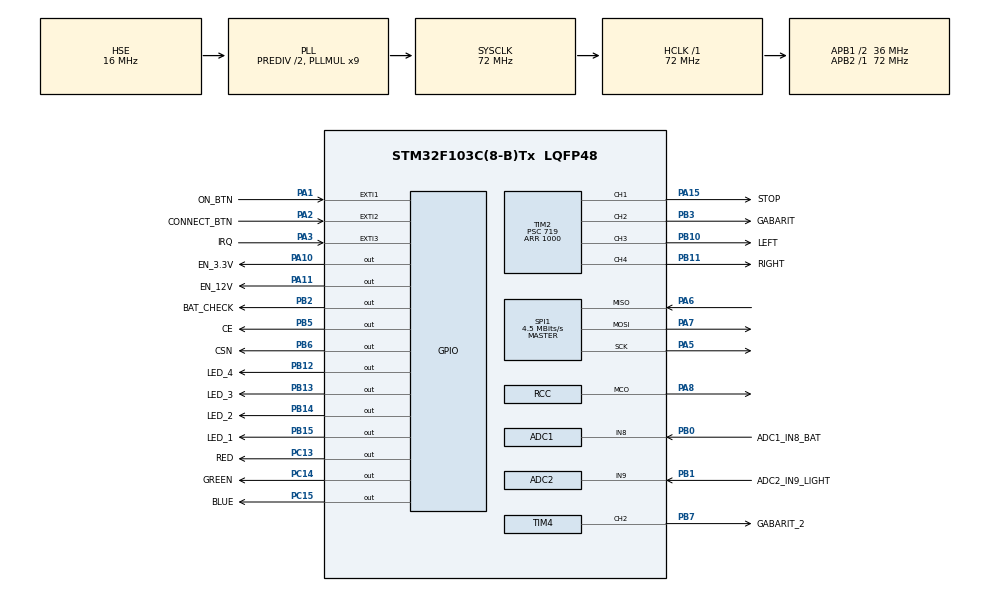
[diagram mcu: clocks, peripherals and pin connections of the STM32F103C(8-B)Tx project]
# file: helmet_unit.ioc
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ADC1.Channel-0\#ChannelRegularConversion=ADC_CHANNEL_8
ADC1.NbrOfConversionFlag=1
ADC1.Rank-0\#ChannelRegularConversion=1
ADC1.SamplingTime-0\#ChannelRegularConversion=ADC_SAMPLETIME_1CYCLE_5
ADC1.master=1
ADC2.Channel-11\#ChannelRegularConversion=ADC_CHANNEL_9
ADC2.EnableRegularConversion=ENABLE
ADC2.InjNumberOfConversion=0
ADC2.NbrOfConversionFlag=1
ADC2.Rank-11\#ChannelRegularConversion=1
ADC2.SamplingTime-11\#ChannelRegularConversion=ADC_SAMPLETIME_1CYCLE_5
Mcu.Family=STM32F1
Mcu.Name=STM32F103C(8-B)Tx
Mcu.Package=LQFP48
NVIC.EXTI1_IRQn=true\:1\:0\:true\:false\:true\:true\:true
NVIC.EXTI2_IRQn=true\:1\:0\:true\:false\:true\:true\:true
NVIC.PriorityGroup=NVIC_PRIORITYGROUP_4
NVIC.TIM1_CC_IRQn=true\:2\:0\:true\:false\:true\:true\:true
NVIC.TIM2_IRQn=true\:1\:0\:true\:false\:true\:true\:true
NVIC.TIM3_IRQn=true\:1\:0\:true\:false\:true\:true\:true
PA1.GPIO_Label=ON_BTN
PA1.GPIO_PuPd=GPIO_PULLDOWN
PA1.Signal=GPXTI1
PA10.GPIO_Label=EN_3.3V
PA10.Signal=GPIO_Output
PA11.GPIO_Label=EN_12V
PA11.Signal=GPIO_Output
PA13.Mode=Serial_Wire
PA13.Signal=SYS_JTMS-SWDIO
PA14.Mode=Serial_Wire
PA14.Signal=SYS_JTCK-SWCLK
PA15.GPIO_Label=STOP
PA15.Signal=S_TIM2_CH1_ETR
PA2.GPIO_Label=CONNECT_BTN
PA2.GPIO_ModeDefaultEXTI=GPIO_MODE_IT_FALLING
PA2.GPIO_PuPd=GPIO_PULLUP
PA2.Signal=GPXTI2
PA3.GPIO_Label=IRQ
PA3.Signal=GPXTI3
PA5.Mode=Full_Duplex_Master
PA5.Signal=SPI1_SCK
PA6.Mode=Full_Duplex_Master
PA6.Signal=SPI1_MISO
PA7.Mode=Full_Duplex_Master
PA7.Signal=SPI1_MOSI
PA8.Mode=Clock-out
PA8.Signal=RCC_MCO
PB0.GPIO_Label=ADC1_IN8_BAT
PB0.Signal=ADCx_IN8
PB1.GPIO_Label=ADC2_IN9_LIGHT
PB1.Signal=ADCx_IN9
PB10.GPIO_Label=LEFT
PB10.Signal=S_TIM2_CH3
PB11.GPIO_Label=RIGHT
PB11.Signal=S_TIM2_CH4
PB12.GPIO_Label=LED_4
PB12.GPIO_ModeDefaultOutputPP=GPIO_MODE_OUTPUT_OD
PB12.GPIO_PuPd=GPIO_PULLUP
PB12.Signal=GPIO_Output
PB13.GPIO_Label=LED_3
PB13.GPIO_ModeDefaultOutputPP=GPIO_MODE_OUTPUT_OD
PB13.GPIO_PuPd=GPIO_PULLUP
PB13.Signal=GPIO_Output
PB14.GPIO_Label=LED_2
PB14.GPIO_ModeDefaultOutputPP=GPIO_MODE_OUTPUT_OD
PB14.GPIO_PuPd=GPIO_PULLUP
PB14.Signal=GPIO_Output
PB15.GPIO_Label=LED_1
PB15.GPIO_ModeDefaultOutputPP=GPIO_MODE_OUTPUT_OD
PB15.GPIO_PuPd=GPIO_PULLUP
PB15.Signal=GPIO_Output
PB2.GPIO_Label=BAT_CHECK
PB2.Signal=GPIO_Output
PB3.GPIO_Label=GABARIT
PB3.Signal=S_TIM2_CH2
PB5.GPIO_Label=CE
PB5.Signal=GPIO_Output
PB6.GPIO_Label=CSN
PB6.Signal=GPIO_Output
PB7.GPIO_Label=GABARIT_2
PB7.Signal=S_TIM4_CH2
PC13-TAMPER-RTC.GPIO_Label=RED
PC13-TAMPER-RTC.Signal=GPIO_Output
PC14-OSC32_IN.GPIO_Label=GREEN
PC14-OSC32_IN.Signal=GPIO_Output
PC15-OSC32_OUT.GPIO_Label=BLUE
PC15-OSC32_OUT.Signal=GPIO_Output
PD0-OSC_IN.Mode=HSE-External-Oscillator
PD0-OSC_IN.Signal=RCC_OSC_IN
PD1-OSC_OUT.Mode=HSE-External-Oscillator
PD1-OSC_OUT.Signal=RCC_OSC_OUT
ProjectManager.HeapSize=0x200
ProjectManager.StackSize=0x400
ProjectManager.TargetToolchain=TrueSTUDIO
RCC.ADCPresc=RCC_ADCPCLK2_DIV6
RCC.AHBFreq_Value=72000000
RCC.APB1CLKDivider=RCC_HCLK_DIV2
RCC.APB1Freq_Value=36000000
RCC.APB1TimFreq_Value=72000000
RCC.APB2Freq_Value=72000000
RCC.APB2TimFreq_Value=72000000
RCC.HCLKFreq_Value=72000000
RCC.HSEDivPLL=RCC_HSE_PREDIV_DIV2
RCC.HSE_VALUE=16000000
RCC.PLLMUL=RCC_PLL_MUL9
RCC.PLLSourceVirtual=RCC_PLLSOURCE_HSE
RCC.RCC_MCOSource=RCC_MCO1SOURCE_HSE
RCC.SYSCLKFreq_VALUE=72000000
RCC.SYSCLKSource=RCC_SYSCLKSOURCE_PLLCLK
RCC.USBFreq_Value=72000000
SH.ADCx_IN8.0=ADC1_IN8,IN8
SH.ADCx_IN9.0=ADC2_IN9,IN9
SH.S_TIM2_CH1_ETR.0=TIM2_CH1,PWM Generation1 CH1
SH.S_TIM2_CH2.0=TIM2_CH2,PWM Generation2 CH2
SH.S_TIM2_CH3.0=TIM2_CH3,PWM Generation3 CH3
SH.S_TIM2_CH4.0=TIM2_CH4,PWM Generation4 CH4
SH.S_TIM4_CH2.0=TIM4_CH2,PWM Generation2 CH2
SPI1.BaudRatePrescaler=SPI_BAUDRATEPRESCALER_16
SPI1.CalculateBaudRate=4.5 MBits/s
SPI1.Direction=SPI_DIRECTION_2LINES
SPI1.Mode=SPI_MODE_MASTER
SPI1.VirtualType=VM_MASTER
TIM1.Channel-Output\ Compare1\ No\ Output=TIM_CHANNEL_1
TIM1.Channel-Output\ Compare2\ No\ Output=TIM_CHANNEL_2
TIM1.ClockDivision=TIM_CLOCKDIVISION_DIV2
TIM1.Period=9999
TIM1.Prescaler=7199
TIM2.Channel-PWM\ Generation1\ CH1=TIM_CHANNEL_1
TIM2.Channel-PWM\ Generation2\ CH2=TIM_CHANNEL_2
TIM2.Channel-PWM\ Generation3\ CH3=TIM_CHANNEL_3
TIM2.Channel-PWM\ Generation4\ CH4=TIM_CHANNEL_4
TIM2.Period=1000
TIM2.Prescaler=719
TIM2.Pulse-PWM\ Generation1\ CH1=0
TIM2.Pulse-PWM\ Generation2\ CH2=0
TIM2.Pulse-PWM\ Generation4\ CH4=0
TIM3.Channel-Output\ Compare4\ No\ Output=TIM_CHANNEL_4
TIM3.Period=9999
TIM3.Prescaler=7199
TIM3.Pulse-Output\ Compare4\ No\ Output=10000
TIM4.Channel-PWM\ Generation2\ CH2=TIM_CHANNEL_2
TIM4.Period=1000
TIM4.Prescaler=719
VP_TIM1_VS_no_output1.Mode=Output Compare1 No Output
VP_TIM1_VS_no_output2.Mode=Output Compare2 No Output
VP_TIM3_VS_no_output4.Mode=Output Compare4 No Output
board=custom

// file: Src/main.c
/* USER CODE BEGIN Header */
/**
  ******************************************************************************
  * @file           : main.c
  * @brief          : Main program body
  ******************************************************************************
  ** This notice applies to any and all portions of this file
  * that are not between comment pairs USER CODE BEGIN and
  * USER CODE END. Other portions of this file, whether
  * inserted by the user or by software development tools
  * are owned by their respective copyright owners.
  *
  * COPYRIGHT(c) 2019 STMicroelectronics
  *
  * Redistribution and use in source and binary forms, with or without modification,
  * are permitted provided that the following conditions are met:
  *   1. Redistributions of source code must retain the above copyright notice,
  *      this list of conditions and the following disclaimer.
  *   2. Redistributions in binary form must reproduce the above copyright notice,
  *      this list of conditions and the following disclaimer in the documentation
  *      and/or other materials provided with the distribution.
  *   3. Neither the name of STMicroelectronics nor the names of its contributors
  *      may be used to endorse or promote products derived from this software
  *      without specific prior written permission.
  *
  * THIS SOFTWARE IS PROVIDED BY THE COPYRIGHT HOLDERS AND CONTRIBUTORS "AS IS"
  * AND ANY EXPRESS OR IMPLIED WARRANTIES, INCLUDING, BUT NOT LIMITED TO, THE
  * IMPLIED WARRANTIES OF MERCHANTABILITY AND FITNESS FOR A PARTICULAR PURPOSE ARE
  * DISCLAIMED. IN NO EVENT SHALL THE COPYRIGHT HOLDER OR CONTRIBUTORS BE LIABLE
  * FOR ANY DIRECT, INDIRECT, INCIDENTAL, SPECIAL, EXEMPLARY, OR CONSEQUENTIAL
  * DAMAGES (INCLUDING, BUT NOT LIMITED TO, PROCUREMENT OF SUBSTITUTE GOODS OR
  * SERVICES; LOSS OF USE, DATA, OR PROFITS; OR BUSINESS INTERRUPTION) HOWEVER
  * CAUSED AND ON ANY THEORY OF LIABILITY, WHETHER IN CONTRACT, STRICT LIABILITY,
  * OR TORT (INCLUDING NEGLIGENCE OR OTHERWISE) ARISING IN ANY WAY OUT OF THE USE
  * OF THIS SOFTWARE, EVEN IF ADVISED OF THE POSSIBILITY OF SUCH DAMAGE.
  *
  ******************************************************************************
  */
/* USER CODE END Header */

#include "main.h"

/* USER CODE BEGIN Includes */
#include "RF24.h"
#include "helmet.h"
/* USER CODE END Includes */

ADC_HandleTypeDef hadc1;
ADC_HandleTypeDef hadc2;

SPI_HandleTypeDef hspi1;

TIM_HandleTypeDef htim1;
TIM_HandleTypeDef htim2;
TIM_HandleTypeDef htim3;
TIM_HandleTypeDef htim4;

/* USER CODE BEGIN PV */
uint8_t nrf_data[32] = {0,}; // буфер указываем максимального размера
static uint8_t remsg = 0;
uint8_t pipe_num = 0;

int connect_flag = 0;

extern uint32_t address_0;
extern uint32_t address_1;
extern uint32_t address_2;
extern int sek;
extern int sek2;
extern search_flag;
uint32_t my_addres = 0;

extern bat_adc;

int bat_led_time = 0;
/* USER CODE END PV */

void SystemClock_Config(void);
static void MX_GPIO_Init(void);
static void MX_SPI1_Init(void);
static void MX_ADC2_Init(void);
static void MX_TIM2_Init(void);
static void MX_ADC1_Init(void);
static void MX_TIM4_Init(void);
static void MX_TIM3_Init(void);
static void MX_TIM1_Init(void);

/* USER CODE BEGIN 0 */
extern int light_check_flag;
/* USER CODE END 0 */

int main(void)
{

  /* MCU Configuration--------------------------------------------------------*/

  /* Reset of all peripherals, Initializes the Flash interface and the Systick. */
  HAL_Init();

  /* Configure the system clock */
  SystemClock_Config();

  /* Initialize all configured peripherals */
  MX_GPIO_Init();
  MX_SPI1_Init();
  MX_ADC2_Init();
  MX_TIM2_Init();
  MX_ADC1_Init();
  MX_TIM4_Init();
  MX_TIM3_Init();
  MX_TIM1_Init();
  /* USER CODE BEGIN 2 */

  /*старт микроконтроллера и перифирии*/
  led1_4_off;

  led1_on;
  HAL_Delay(600);
  led2_on;
  HAL_Delay(600);
  led3_on;
  HAL_Delay(600);
  led4_on;

  if((HAL_GPIO_ReadPin(GPIOA,ON_BTN_Pin))== 1)
  {
	  while((HAL_GPIO_ReadPin(GPIOA,ON_BTN_Pin))== 1)
	  {
		  HAL_Delay(100);
		  Power_3_3_Volt_on;
		  HAL_Delay(100);
	  }
  }
  led1_4_off;

  led1_4_on;
  HAL_Delay(300);
  led1_4_off;
  HAL_Delay(300);

  battery_check(1);

  HAL_Delay(3000);
  led1_4_off;

  unique_id();

  /*старт модуля NRF24*/

  DWT_Init();//счетчик для микросекундных пауз

  const uint64_t pipe1 = 0xE8E8F0F0E2LL; // адрес первой трубы
  const uint64_t pipe2 = 0xE8E8F0F0A2LL;

  uint8_t res = isChipConnected(); // проверяем подключение по SPI
  char str[64] = {0,};
  res = NRF_Init(); // инициализация

  ////////////// SET ////////////////
  setAutoAck(true);
  enableAckPayload();
  enableDynamicPayloads();
 // setPayloadSize(6);
  setChannel(19);
  openReadingPipe(1, pipe1);
  startListening();
   ///////////////////////////////////
  uint8_t status = get_status();
  status = getPALevel();
  status = getChannel();
  status = getDataRate();

  /********************/

  Power_12_Volt_on;

  HAL_TIM_PWM_Start(&htim2, TIM_CHANNEL_1);
  HAL_TIM_PWM_Start(&htim2, TIM_CHANNEL_2);
  HAL_TIM_PWM_Start(&htim2, TIM_CHANNEL_3);
  HAL_TIM_PWM_Start(&htim2, TIM_CHANNEL_4);

  HAL_ADCEx_Calibration_Start(&hadc2);
  HAL_TIM_OC_Start_IT(&htim3,TIM_CHANNEL_4);	//таймер по проверке уровня света и уровня батареи
  HAL_TIM_Base_Start(&htim1); 					//таймер запускающий функцию search

  address_0 = (*(__IO uint32_t*) 0x08004000); 	//вытаскиваем id мотоцикла сохраненного по адресу.
  address_1 = (*(__IO uint32_t*) 0x08004004); 	//вытаскиваем id мотоцикла сохраненного по адресу.
  address_2 = (*(__IO uint32_t*) 0x08004008); 	//вытаскиваем id мотоцикла сохраненного по адресу.

 /********************/
  light_check();

  /* USER CODE END 2 */

  /* Infinite loop */
  while (1)
  {

    /* USER CODE BEGIN 3 */
	  ///////////////////////////////////// ПРИЁМ /////////////////////////////////////////////
	 	if(available(&pipe_num)) // проверяем пришло ли что-то
	  	{
	  		TEST(pipe_num);
	  	}
  }

  /* USER CODE END 3 */
}

void SystemClock_Config(void)
{
  RCC_OscInitTypeDef RCC_OscInitStruct = {0};
  RCC_ClkInitTypeDef RCC_ClkInitStruct = {0};
  RCC_PeriphCLKInitTypeDef PeriphClkInit = {0};

  /** Initializes the CPU, AHB and APB busses clocks
  */
  RCC_OscInitStruct.OscillatorType = RCC_OSCILLATORTYPE_HSE;
  RCC_OscInitStruct.HSEState = RCC_HSE_ON;
  RCC_OscInitStruct.HSEPredivValue = RCC_HSE_PREDIV_DIV2;
  RCC_OscInitStruct.HSIState = RCC_HSI_ON;
  RCC_OscInitStruct.PLL.PLLState = RCC_PLL_ON;
  RCC_OscInitStruct.PLL.PLLSource = RCC_PLLSOURCE_HSE;
  RCC_OscInitStruct.PLL.PLLMUL = RCC_PLL_MUL9;
  if (HAL_RCC_OscConfig(&RCC_OscInitStruct) != HAL_OK)
  {
    Error_Handler();
  }
  /** Initializes the CPU, AHB and APB busses clocks
  */
  RCC_ClkInitStruct.ClockType = RCC_CLOCKTYPE_HCLK|RCC_CLOCKTYPE_SYSCLK
                              |RCC_CLOCKTYPE_PCLK1|RCC_CLOCKTYPE_PCLK2;
  RCC_ClkInitStruct.SYSCLKSource = RCC_SYSCLKSOURCE_PLLCLK;
  RCC_ClkInitStruct.AHBCLKDivider = RCC_SYSCLK_DIV1;
  RCC_ClkInitStruct.APB1CLKDivider = RCC_HCLK_DIV2;
  RCC_ClkInitStruct.APB2CLKDivider = RCC_HCLK_DIV1;

  if (HAL_RCC_ClockConfig(&RCC_ClkInitStruct, FLASH_LATENCY_2) != HAL_OK)
  {
    Error_Handler();
  }
  PeriphClkInit.PeriphClockSelection = RCC_PERIPHCLK_ADC;
  PeriphClkInit.AdcClockSelection = RCC_ADCPCLK2_DIV6;
  if (HAL_RCCEx_PeriphCLKConfig(&PeriphClkInit) != HAL_OK)
  {
    Error_Handler();
  }
  HAL_RCC_MCOConfig(RCC_MCO, RCC_MCO1SOURCE_HSE, RCC_MCODIV_1);
}

static void MX_ADC1_Init(void)
{

  ADC_ChannelConfTypeDef sConfig = {0};

  /** Common config
  */
  hadc1.Instance = ADC1;
  hadc1.Init.ScanConvMode = ADC_SCAN_DISABLE;
  hadc1.Init.ContinuousConvMode = DISABLE;
  hadc1.Init.DiscontinuousConvMode = DISABLE;
  hadc1.Init.ExternalTrigConv = ADC_SOFTWARE_START;
  hadc1.Init.DataAlign = ADC_DATAALIGN_RIGHT;
  hadc1.Init.NbrOfConversion = 1;
  if (HAL_ADC_Init(&hadc1) != HAL_OK)
  {
    Error_Handler();
  }
  /** Configure Regular Channel
  */
  sConfig.Channel = ADC_CHANNEL_8;
  sConfig.Rank = ADC_REGULAR_RANK_1;
  sConfig.SamplingTime = ADC_SAMPLETIME_1CYCLE_5;
  if (HAL_ADC_ConfigChannel(&hadc1, &sConfig) != HAL_OK)
  {
    Error_Handler();
  }

}

static void MX_ADC2_Init(void)
{

  ADC_ChannelConfTypeDef sConfig = {0};

  /** Common config
  */
  hadc2.Instance = ADC2;
  hadc2.Init.ScanConvMode = ADC_SCAN_DISABLE;
  hadc2.Init.ContinuousConvMode = DISABLE;
  hadc2.Init.DiscontinuousConvMode = DISABLE;
  hadc2.Init.ExternalTrigConv = ADC_SOFTWARE_START;
  hadc2.Init.DataAlign = ADC_DATAALIGN_RIGHT;
  hadc2.Init.NbrOfConversion = 1;
  if (HAL_ADC_Init(&hadc2) != HAL_OK)
  {
    Error_Handler();
  }
  /** Configure Regular Channel
  */
  sConfig.Channel = ADC_CHANNEL_9;
  sConfig.Rank = ADC_REGULAR_RANK_1;
  sConfig.SamplingTime = ADC_SAMPLETIME_1CYCLE_5;
  if (HAL_ADC_ConfigChannel(&hadc2, &sConfig) != HAL_OK)
  {
    Error_Handler();
  }

}

static void MX_SPI1_Init(void)
{

  /* SPI1 parameter configuration*/
  hspi1.Instance = SPI1;
  hspi1.Init.Mode = SPI_MODE_MASTER;
  hspi1.Init.Direction = SPI_DIRECTION_2LINES;
  hspi1.Init.DataSize = SPI_DATASIZE_8BIT;
  hspi1.Init.CLKPolarity = SPI_POLARITY_LOW;
  hspi1.Init.CLKPhase = SPI_PHASE_1EDGE;
  hspi1.Init.NSS = SPI_NSS_SOFT;
  hspi1.Init.BaudRatePrescaler = SPI_BAUDRATEPRESCALER_16;
  hspi1.Init.FirstBit = SPI_FIRSTBIT_MSB;
  hspi1.Init.TIMode = SPI_TIMODE_DISABLE;
  hspi1.Init.CRCCalculation = SPI_CRCCALCULATION_DISABLE;
  hspi1.Init.CRCPolynomial = 10;
  if (HAL_SPI_Init(&hspi1) != HAL_OK)
  {
    Error_Handler();
  }

}

static void MX_TIM1_Init(void)
{

  TIM_MasterConfigTypeDef sMasterConfig = {0};
  TIM_OC_InitTypeDef sConfigOC = {0};
  TIM_BreakDeadTimeConfigTypeDef sBreakDeadTimeConfig = {0};

  htim1.Instance = TIM1;
  htim1.Init.Prescaler = 7199;
  htim1.Init.CounterMode = TIM_COUNTERMODE_UP;
  htim1.Init.Period = 9999;
  htim1.Init.ClockDivision = TIM_CLOCKDIVISION_DIV2;
  htim1.Init.RepetitionCounter = 0;
  htim1.Init.AutoReloadPreload = TIM_AUTORELOAD_PRELOAD_DISABLE;
  if (HAL_TIM_OC_Init(&htim1) != HAL_OK)
  {
    Error_Handler();
  }
  sMasterConfig.MasterOutputTrigger = TIM_TRGO_RESET;
  sMasterConfig.MasterSlaveMode = TIM_MASTERSLAVEMODE_DISABLE;
  if (HAL_TIMEx_MasterConfigSynchronization(&htim1, &sMasterConfig) != HAL_OK)
  {
    Error_Handler();
  }
  sConfigOC.OCMode = TIM_OCMODE_TIMING;
  sConfigOC.Pulse = 0;
  sConfigOC.OCPolarity = TIM_OCPOLARITY_HIGH;
  sConfigOC.OCNPolarity = TIM_OCNPOLARITY_HIGH;
  sConfigOC.OCFastMode = TIM_OCFAST_DISABLE;
  sConfigOC.OCIdleState = TIM_OCIDLESTATE_RESET;
  sConfigOC.OCNIdleState = TIM_OCNIDLESTATE_RESET;
  if (HAL_TIM_OC_ConfigChannel(&htim1, &sConfigOC, TIM_CHANNEL_1) != HAL_OK)
  {
    Error_Handler();
  }
  if (HAL_TIM_OC_ConfigChannel(&htim1, &sConfigOC, TIM_CHANNEL_2) != HAL_OK)
  {
    Error_Handler();
  }
  sBreakDeadTimeConfig.OffStateRunMode = TIM_OSSR_DISABLE;
  sBreakDeadTimeConfig.OffStateIDLEMode = TIM_OSSI_DISABLE;
  sBreakDeadTimeConfig.LockLevel = TIM_LOCKLEVEL_OFF;
  sBreakDeadTimeConfig.DeadTime = 0;
  sBreakDeadTimeConfig.BreakState = TIM_BREAK_DISABLE;
  sBreakDeadTimeConfig.BreakPolarity = TIM_BREAKPOLARITY_HIGH;
  sBreakDeadTimeConfig.AutomaticOutput = TIM_AUTOMATICOUTPUT_DISABLE;
  if (HAL_TIMEx_ConfigBreakDeadTime(&htim1, &sBreakDeadTimeConfig) != HAL_OK)
  {
    Error_Handler();
  }

}

static void MX_TIM2_Init(void)
{

  TIM_MasterConfigTypeDef sMasterConfig = {0};
  TIM_OC_InitTypeDef sConfigOC = {0};

  htim2.Instance = TIM2;
  htim2.Init.Prescaler = 719;
  htim2.Init.CounterMode = TIM_COUNTERMODE_UP;
  htim2.Init.Period = 1000;
  htim2.Init.ClockDivision = TIM_CLOCKDIVISION_DIV1;
  htim2.Init.AutoReloadPreload = TIM_AUTORELOAD_PRELOAD_DISABLE;
  if (HAL_TIM_PWM_Init(&htim2) != HAL_OK)
  {
    Error_Handler();
  }
  sMasterConfig.MasterOutputTrigger = TIM_TRGO_RESET;
  sMasterConfig.MasterSlaveMode = TIM_MASTERSLAVEMODE_DISABLE;
  if (HAL_TIMEx_MasterConfigSynchronization(&htim2, &sMasterConfig) != HAL_OK)
  {
    Error_Handler();
  }
  sConfigOC.OCMode = TIM_OCMODE_PWM1;
  sConfigOC.Pulse = 0;
  sConfigOC.OCPolarity = TIM_OCPOLARITY_HIGH;
  sConfigOC.OCFastMode = TIM_OCFAST_DISABLE;
  if (HAL_TIM_PWM_ConfigChannel(&htim2, &sConfigOC, TIM_CHANNEL_1) != HAL_OK)
  {
    Error_Handler();
  }
  if (HAL_TIM_PWM_ConfigChannel(&htim2, &sConfigOC, TIM_CHANNEL_2) != HAL_OK)
  {
    Error_Handler();
  }
  if (HAL_TIM_PWM_ConfigChannel(&htim2, &sConfigOC, TIM_CHANNEL_3) != HAL_OK)
  {
    Error_Handler();
  }
  if (HAL_TIM_PWM_ConfigChannel(&htim2, &sConfigOC, TIM_CHANNEL_4) != HAL_OK)
  {
    Error_Handler();
  }
  HAL_TIM_MspPostInit(&htim2);

}

static void MX_TIM3_Init(void)
{

  TIM_MasterConfigTypeDef sMasterConfig = {0};
  TIM_OC_InitTypeDef sConfigOC = {0};

  htim3.Instance = TIM3;
  htim3.Init.Prescaler = 7199;
  htim3.Init.CounterMode = TIM_COUNTERMODE_UP;
  htim3.Init.Period = 9999;
  htim3.Init.ClockDivision = TIM_CLOCKDIVISION_DIV1;
  htim3.Init.AutoReloadPreload = TIM_AUTORELOAD_PRELOAD_DISABLE;
  if (HAL_TIM_OC_Init(&htim3) != HAL_OK)
  {
    Error_Handler();
  }
  sMasterConfig.MasterOutputTrigger = TIM_TRGO_RESET;
  sMasterConfig.MasterSlaveMode = TIM_MASTERSLAVEMODE_DISABLE;
  if (HAL_TIMEx_MasterConfigSynchronization(&htim3, &sMasterConfig) != HAL_OK)
  {
    Error_Handler();
  }
  sConfigOC.OCMode = TIM_OCMODE_TIMING;
  sConfigOC.Pulse = 10000;
  sConfigOC.OCPolarity = TIM_OCPOLARITY_HIGH;
  sConfigOC.OCFastMode = TIM_OCFAST_DISABLE;
  if (HAL_TIM_OC_ConfigChannel(&htim3, &sConfigOC, TIM_CHANNEL_4) != HAL_OK)
  {
    Error_Handler();
  }

}

static void MX_TIM4_Init(void)
{

  TIM_MasterConfigTypeDef sMasterConfig = {0};
  TIM_OC_InitTypeDef sConfigOC = {0};

  htim4.Instance = TIM4;
  htim4.Init.Prescaler = 719;
  htim4.Init.CounterMode = TIM_COUNTERMODE_UP;
  htim4.Init.Period = 1000;
  htim4.Init.ClockDivision = TIM_CLOCKDIVISION_DIV1;
  htim4.Init.AutoReloadPreload = TIM_AUTORELOAD_PRELOAD_DISABLE;
  if (HAL_TIM_PWM_Init(&htim4) != HAL_OK)
  {
    Error_Handler();
  }
  sMasterConfig.MasterOutputTrigger = TIM_TRGO_RESET;
  sMasterConfig.MasterSlaveMode = TIM_MASTERSLAVEMODE_DISABLE;
  if (HAL_TIMEx_MasterConfigSynchronization(&htim4, &sMasterConfig) != HAL_OK)
  {
    Error_Handler();
  }
  sConfigOC.OCMode = TIM_OCMODE_PWM1;
  sConfigOC.Pulse = 0;
  sConfigOC.OCPolarity = TIM_OCPOLARITY_HIGH;
  sConfigOC.OCFastMode = TIM_OCFAST_DISABLE;
  if (HAL_TIM_PWM_ConfigChannel(&htim4, &sConfigOC, TIM_CHANNEL_2) != HAL_OK)
  {
    Error_Handler();
  }
  HAL_TIM_MspPostInit(&htim4);

}

static void MX_GPIO_Init(void)
{
  GPIO_InitTypeDef GPIO_InitStruct = {0};

  /* GPIO Ports Clock Enable */
  __HAL_RCC_GPIOC_CLK_ENABLE();
  __HAL_RCC_GPIOD_CLK_ENABLE();
  __HAL_RCC_GPIOA_CLK_ENABLE();
  __HAL_RCC_GPIOB_CLK_ENABLE();

  /*Configure GPIO pin Output Level */
  HAL_GPIO_WritePin(GPIOC, RED_Pin|GREEN_Pin|BLUE_Pin, GPIO_PIN_RESET);

  /*Configure GPIO pin Output Level */
  HAL_GPIO_WritePin(GPIOB, BAT_CHECK_Pin|LED_4_Pin|LED_3_Pin|LED_2_Pin
                          |LED_1_Pin|CE_Pin|CSN_Pin, GPIO_PIN_RESET);

  /*Configure GPIO pin Output Level */
  HAL_GPIO_WritePin(GPIOA, EN_3_3V_Pin|EN_12V_Pin, GPIO_PIN_RESET);

  /*Configure GPIO pins : RED_Pin GREEN_Pin BLUE_Pin */
  GPIO_InitStruct.Pin = RED_Pin|GREEN_Pin|BLUE_Pin;
  GPIO_InitStruct.Mode = GPIO_MODE_OUTPUT_PP;
  GPIO_InitStruct.Pull = GPIO_NOPULL;
  GPIO_InitStruct.Speed = GPIO_SPEED_FREQ_LOW;
  HAL_GPIO_Init(GPIOC, &GPIO_InitStruct);

  /*Configure GPIO pin : ON_BTN_Pin */
  GPIO_InitStruct.Pin = ON_BTN_Pin;
  GPIO_InitStruct.Mode = GPIO_MODE_IT_RISING;
  GPIO_InitStruct.Pull = GPIO_PULLDOWN;
  HAL_GPIO_Init(ON_BTN_GPIO_Port, &GPIO_InitStruct);

  /*Configure GPIO pin : CONNECT_BTN_Pin */
  GPIO_InitStruct.Pin = CONNECT_BTN_Pin;
  GPIO_InitStruct.Mode = GPIO_MODE_IT_FALLING;
  GPIO_InitStruct.Pull = GPIO_PULLUP;
  HAL_GPIO_Init(CONNECT_BTN_GPIO_Port, &GPIO_InitStruct);

  /*Configure GPIO pin : IRQ_Pin */
  GPIO_InitStruct.Pin = IRQ_Pin;
  GPIO_InitStruct.Mode = GPIO_MODE_IT_RISING;
  GPIO_InitStruct.Pull = GPIO_NOPULL;
  HAL_GPIO_Init(IRQ_GPIO_Port, &GPIO_InitStruct);

  /*Configure GPIO pins : BAT_CHECK_Pin CE_Pin CSN_Pin */
  GPIO_InitStruct.Pin = BAT_CHECK_Pin|CE_Pin|CSN_Pin;
  GPIO_InitStruct.Mode = GPIO_MODE_OUTPUT_PP;
  GPIO_InitStruct.Pull = GPIO_NOPULL;
  GPIO_InitStruct.Speed = GPIO_SPEED_FREQ_LOW;
  HAL_GPIO_Init(GPIOB, &GPIO_InitStruct);

  /*Configure GPIO pins : LED_4_Pin LED_3_Pin LED_2_Pin LED_1_Pin */
  GPIO_InitStruct.Pin = LED_4_Pin|LED_3_Pin|LED_2_Pin|LED_1_Pin;
  GPIO_InitStruct.Mode = GPIO_MODE_OUTPUT_OD;
  GPIO_InitStruct.Pull = GPIO_PULLUP;
  GPIO_InitStruct.Speed = GPIO_SPEED_FREQ_LOW;
  HAL_GPIO_Init(GPIOB, &GPIO_InitStruct);

  /*Configure GPIO pin : PA8 */
  GPIO_InitStruct.Pin = GPIO_PIN_8;
  GPIO_InitStruct.Mode = GPIO_MODE_AF_PP;
  GPIO_InitStruct.Speed = GPIO_SPEED_FREQ_LOW;
  HAL_GPIO_Init(GPIOA, &GPIO_InitStruct);

  /*Configure GPIO pins : EN_3_3V_Pin EN_12V_Pin */
  GPIO_InitStruct.Pin = EN_3_3V_Pin|EN_12V_Pin;
  GPIO_InitStruct.Mode = GPIO_MODE_OUTPUT_PP;
  GPIO_InitStruct.Pull = GPIO_NOPULL;
  GPIO_InitStruct.Speed = GPIO_SPEED_FREQ_LOW;
  HAL_GPIO_Init(GPIOA, &GPIO_InitStruct);

  /* EXTI interrupt init*/
  HAL_NVIC_SetPriority(EXTI1_IRQn, 1, 0);
  HAL_NVIC_EnableIRQ(EXTI1_IRQn);

  HAL_NVIC_SetPriority(EXTI2_IRQn, 1, 0);
  HAL_NVIC_EnableIRQ(EXTI2_IRQn);

}

/* USER CODE BEGIN 4 */
//void TIM_1_Callback(TIM_HandleTypeDef *htim)
void HAL_TIM_OC_DelayElapsedCallback (TIM_HandleTypeDef *htim)
{
    if(htim->Instance == TIM1)
    {
    	if (htim->Channel == HAL_TIM_ACTIVE_CHANNEL_1)
    	{
    		sek++;
    		if (sek == 2)
    		{
    			search_flag = 1;
    			HAL_TIM_OC_Stop_IT(&htim1, TIM_CHANNEL_1);
    			sek = 0;
    			blue_off;
    		}
    	}

    	if (htim->Channel == HAL_TIM_ACTIVE_CHANNEL_2)
    	{
    		sek2++;
    		if (sek2 == 20)
    		{
    			green_off;
    			HAL_TIM_OC_Stop_IT(&htim1, TIM_CHANNEL_2);
    			sek2 = 0;
    			connect_flag=0;
    		//	HAL_TIM_Base_Stop_IT(&htim4);
    		//	c=0;
    			TIM2->CCR3 = 0;
    			TIM2->CCR4 = 0;
    		}
    	}
    }
}

void HAL_GPIO_EXTI_Callback(uint16_t GPIO_Pin)
{
	int c = 0;
	HAL_Delay(200);

	if(GPIO_Pin == CONNECT_BTN_Pin)
	{
		while((HAL_GPIO_ReadPin(GPIOA,CONNECT_BTN_Pin))== 0)
		{
			c++;
			if(((HAL_GPIO_ReadPin(GPIOA,CONNECT_BTN_Pin))== 0)&&(c==500000))
			{
				//стираем адрес мотоцикла из памяти
				flash_unlock();
				flash_erase_page(0x08004000);
				flash_write(0x08004000, 0xFFFFFFFF );
				flash_write(0x08004004, 0xFFFFFFFF );
				flash_write(0x08004008, 0xFFFFFFFF );
				flash_lock();
				address_0 = 0;
				address_1 = 0;
				address_2 = 0;

				TIM2->CCR3 = 0;
				TIM2->CCR4 = 0;

				HAL_Delay(200);
				TIM2->CCR3 = 1000;
				TIM2->CCR4 = 1000;

				HAL_Delay(200);
				TIM2->CCR3 = 0;
				TIM2->CCR4 = 0;

				HAL_Delay(200);
				TIM2->CCR3 = 1000;
				TIM2->CCR4 = 1000;

				HAL_Delay(300);
				TIM2->CCR3 = 0;
				TIM2->CCR4 = 0;

				HAL_Delay(200);
				TIM2->CCR3 = 1000;
				TIM2->CCR4 = 1000;

				HAL_Delay(200);

				while((HAL_GPIO_ReadPin(GPIOA,CONNECT_BTN_Pin))== 0)
				{
					TIM2->CCR3 = 0;
					TIM2->CCR4 = 0;
					TIM2->CCR1 = 0;
				}

				TIM2->CCR1 = 0;
				TIM2->CCR3 = 0;
				TIM2->CCR4 = 0;
				light_check_flag = 1;
			}
		}
		if ((c < 500000)&&(c > 50000))
		{

				TIM2->CCR3 = 500;
				TIM2->CCR4 = 500;
				//HAL_TIM_Base_Start_IT(&htim4);
				HAL_TIM_OC_Start_IT(&htim1, TIM_CHANNEL_2);
				green_on;
				connect_flag = 1;
		}
	}
	if(GPIO_Pin == ON_BTN_Pin)
	{
//		HAL_Delay(250);
//		if (HAL_GPIO_ReadPin(GPIOA,CONNECT_BTN_Pin)== 0)gabarit_btn();
		while((HAL_GPIO_ReadPin(GPIOA,ON_BTN_Pin))== 1)
		{

			c++;
			if(((HAL_GPIO_ReadPin(GPIOA,ON_BTN_Pin))== 1)&&(c==500000))
			{
				led1_4_on;
				HAL_Delay(600);
				led4_off;
				HAL_Delay(600);
				led3_off;
				HAL_Delay(600);
				led2_off;
				HAL_Delay(600);
				led1_off;
				Power_12_Volt_off;
				Power_3_3_Volt_off;

			}
		}
		if ((c < 500000)&&(c > 50000))
		{

				battery_check(1);
				bat_led_time = 11;

		}
	}
}

/* USER CODE END 4 */

void Error_Handler(void)
{
}

/************************ (C) COPYRIGHT STMicroelectronics *****END OF FILE****/
